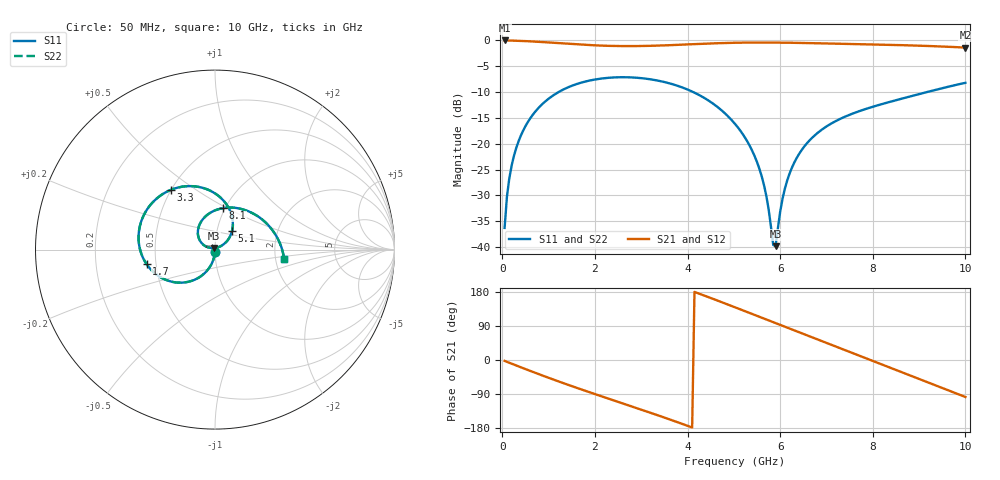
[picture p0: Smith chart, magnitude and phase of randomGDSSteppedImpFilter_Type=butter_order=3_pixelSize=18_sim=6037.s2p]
! freq	dB(S11)	phase(S11)	dB(S12)	phase(S12)
!  dB(S21)	phase(S21)	dB(S22)	phase(S22)
!S-par simulation data
#  GHz  S  DB  R 50
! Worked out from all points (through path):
!   200 points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, 50 MHz to 10 GHz, reference 50 ohm
!   highest |S21| = 0.00 dB at 50 MHz (marker M1); lowest = -1.4 dB at 10 GHz (marker M2)
!   group delay of S21, straight-line fit = 127 ps
!   lowest |S11| = -39.8 dB at 5.9 GHz (marker M3), VSWR 1.02, Z = 49.5 + j0.901 ohm
!   |S11| at or under -10 dB: start of sweep to 1.214 GHz; 4.124 GHz to 9.168 GHz (5.044 GHz wide, 75.9 % of centre)
!   |S22| runs from -40.2 to -7.1 dB; largest |S21 - S12| = 0
!   S11 on the Smith chart (normalised r, x): 50 MHz: 1.00, -0.03; 1.7 GHz: 0.44, -0.08; 3.3 GHz: 0.50, +0.40; 5.1 GHz: 1.18, +0.25; 8.1 GHz: 0.98, +0.48; 10 GHz: 2.23, -0.27
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0.05  -36.30 -92.4  -0.00 -2.4  -0.00 -2.4  -36.30 -92.4
0.1  -30.29 -95.0  -0.01 -4.8  -0.01 -4.8  -30.29 -95.0
0.2  -24.31 -100.0  -0.03 -9.7  -0.03 -9.7  -24.31 -100.0
0.5  -16.60 -114.5  -0.13 -23.9  -0.13 -23.9  -16.60 -114.5
1.1  -10.63 -142.0  -0.46 -51.4  -0.46 -51.4  -10.63 -142.1
1.7  -8.18 -168.0  -0.81 -77.4  -0.81 -77.4  -8.18 -168.0
1.75  -8.06 -170.1  -0.84 -79.5  -0.84 -79.5  -8.06 -170.1
2.5  -7.13 159.0  -1.08 -110.4  -1.08 -110.4  -7.13 159.0
3.3  -7.67 126.2  -1.02 -143.4  -1.02 -143.4  -7.67 126.1
3.4  -7.85 122.0  -0.99 -147.6  -0.99 -147.6  -7.85 122.0
4.25  -10.57 85.3  -0.68 175.1  -0.68 175.1  -10.56 85.2
5.05  -16.42 49.9  -0.44 137.9  -0.44 137.9  -16.42 49.7
5.1  -16.99 47.8  -0.43 135.5  -0.43 135.5  -16.99 47.6
5.55  -24.80 31.9  -0.40 114.1  -0.40 114.1  -24.81 31.3
5.9  -39.83 116.9  -0.41 97.3  -0.41 97.3  -40.24 117.6
6.15  -27.18 161.6  -0.44 85.4  -0.44 85.4  -27.20 162.2
6.7  -18.76 143.1  -0.53 59.2  -0.53 59.2  -18.77 143.2
7.45  -14.57 109.3  -0.67 23.7  -0.67 23.7  -14.57 109.3
8.1  -12.58 79.3  -0.80 -7.1  -0.80 -7.1  -12.58 79.2
8.35  -11.94 67.8  -0.85 -19.0  -0.85 -19.0  -11.94 67.7
9.2  -9.93 28.8  -1.07 -59.5  -1.07 -59.5  -9.93 28.6
10  -8.21 -7.6  -1.38 -97.6  -1.38 -97.6  -8.21 -7.8
